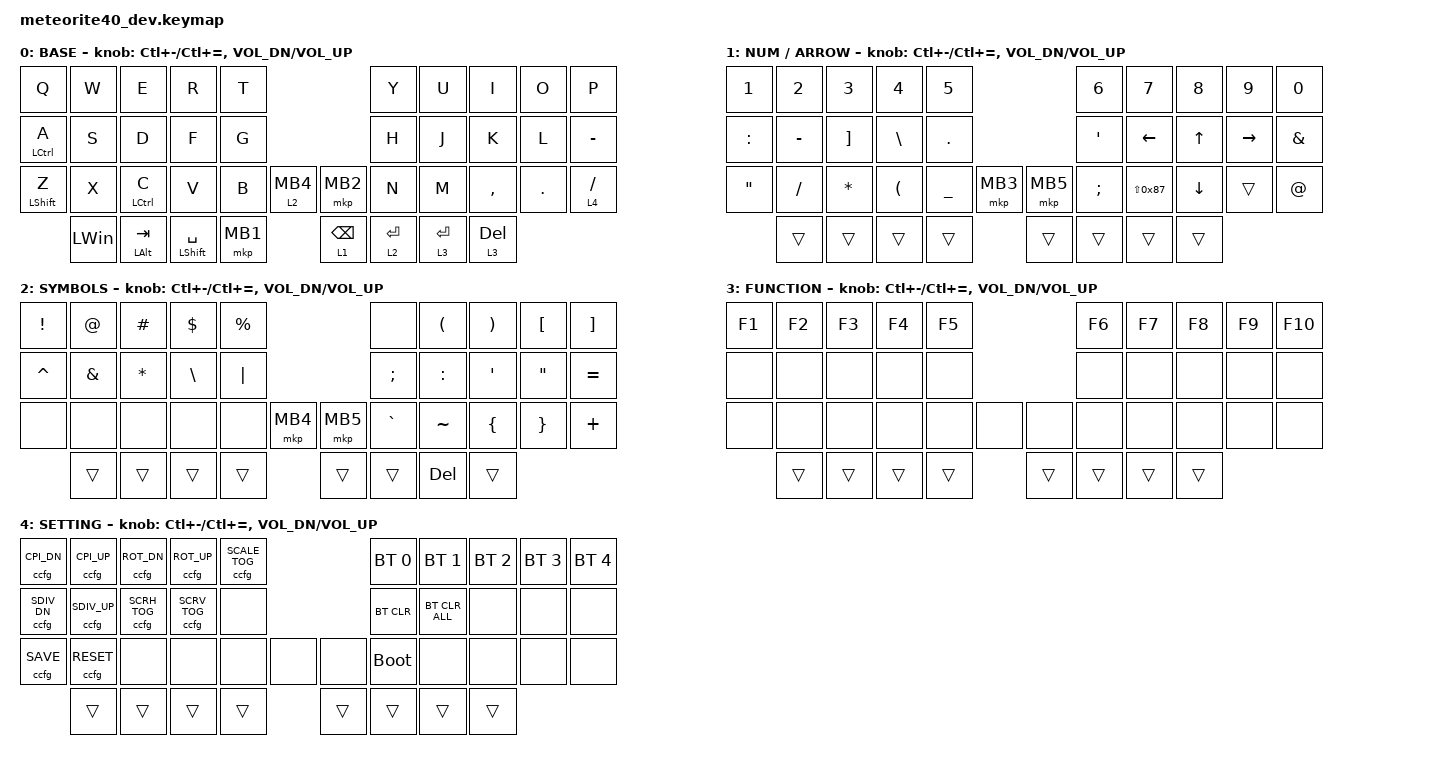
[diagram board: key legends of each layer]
#include <behaviors.dtsi>
#include <dt-bindings/zmk/bt.h>
#include <dt-bindings/zmk/keys.h>
#include <behaviors/custom_config.dtsi>
#include <dt-bindings/zmk/custom_config.h>

#define ZMK_POINTING_DEFAULT_SCRL_VAL 200
#include <dt-bindings/zmk/pointing.h>

// Conversion definition for using Japanese keyboard with OS settings
#define JP_DQUOTE       AT                // "
#define JP_AMPERSAND    CARET             // &
#define JP_QUOTE        AMPERSAND         // '
#define JP_EQUAL        UNDER             // =
#define JP_CARET        EQUAL             // ^
#define JP_YEN          0x89              // ¥
#define JP_PLUS         COLON             // +
#define JP_TILDE        PLUS              // ~
#define JP_PIPE         LS(0x89)          // |
#define JP_AT           LEFT_BRACKET      // @
#define JP_COLON        SINGLE_QUOTE      // :
#define JP_ASTERISK     DOUBLE_QUOTES     // *
#define JP_BACKQUOTE    LEFT_BRACE        // `
#define JP_UNDERSCORE   LS(0x87)          // _
#define JP_LBRACKET     RIGHT_BRACKET     // [
#define JP_RBRACKET     BACKSLASH         // ]
#define JP_LPAREN       ASTERISK          // (
#define JP_RPAREN       LEFT_PARENTHESIS  // )
#define JP_LBRACE       RIGHT_BRACE       // {
#define JP_RBRACE       PIPE              // }
#define JP_KANA         LANGUAGE_1        // かな
#define JP_EISU         LANGUAGE_2        // 英数
#define JP_HANZEN       GRAVE             // 半角/全角

&mt { 
    flavor = "tap-preferred"; // change hold to tap
    tapping-term-ms = <200>;
    quick-tap-ms = <150>; // change 200 to 150
};

&lt {
    flavor = "tap-preferred";
    tapping-term-ms = <150>; // change 200 to 150
    quick-tap-ms = <150>; // change 200 to 150
};

/ { 
    behaviors {
        mouse_scroll: mouse_wheel {
            compatible = "zmk,behavior-sensor-rotate-var";
            #sensor-binding-cells = <2>;
            bindings = <&msc>, <&msc>;
            tap-ms = <25>;
        };
        lt_mkp: lt_mkp {
            compatible = "zmk,behavior-hold-tap";
            label = "LT_MKP";
            bindings = <&mo>, <&mkp>;
            #binding-cells = <2>;
            tapping-term-ms = <200>;
        };

    };

    combos {
        compatible = "zmk,combos";

        lang1 {
            bindings = <&kp LANG1>;
            key-positions = <12 13>; /* D + F */
            layers = <0>;
        };

        lang2 {
            bindings = <&kp LANG2>;
            key-positions = <16 17>; /* J + K */
            layers = <0>;
        };

        esc {
            bindings = <&kp ESCAPE>;
            key-positions = <20 21>; /* Z + X */
            layers = <0>;
        };

        tab {
            bindings = <&kp TAB>;
            key-positions = <0 1>; /* Q + W */
            layers = <0>;
        };

        home {
            bindings = <&kp HOME>;
            key-positions = <16 17>; /* J + K (on layer 2) */
            layers = <2>;
        };

        end {
            bindings = <&kp END>;
            key-positions = <18 19>; /* L + - (on layer 2) */
            layers = <2>;
        };

        ctrl_home {
            bindings = <&kp LC(HOME)>;
            key-positions = <16 18>; /* J + L (on layer 2) */
            layers = <2>;
        };

        ctrl_end {
            bindings = <&kp LC(END)>;
            key-positions = <17 19>; /* K + - (on layer 2) */
            layers = <2>;
        };
    };

    keymap {
        compatible = "zmk,keymap";
        layout = &LAYOUT_2U_SPACE;

        win_default_layer {
            display-name = "BASE";
            bindings = <
                &kp Q        &kp W       &kp E        &kp R        &kp T                                &kp Y       &kp U        &kp I        &kp O    &kp P
                &mt LCTRL A  &kp S       &kp D        &kp F        &kp G                                &kp H       &kp J        &kp K        &kp L    &kp MINUS
                &mt LSHIFT Z &kp X       &mt LCTRL C  &kp V        &kp B     &lt_mkp 2 MB4  &mkp MB2    &kp N       &kp M        &kp COMMA    &kp DOT  &lt 4 SLASH
                                   &kp LWIN  &mt LALT TAB  &mt LSHIFT SPACE  &mkp MB1       &lt 1 BSPC  &lt 2 ENTER  &lt 3 ENTER  &lt 3 DEL
            >;

            sensor-bindings =
                <&inc_dec_kp LC(MINUS) LC(EQUAL)>, // RE0: ctrl + - / +,,,
                <&inc_dec_kp C_VOL_DN C_VOL_UP>; // RE1: volume down/up
                //<&mouse_scroll SCRL_LEFT SCRL_RIGHT>,
			    //<&mouse_scroll SCRL_UP SCRL_DOWN>;

        };

        layer_1 {
            display-name = "NUM / ARROW";
            bindings = <
                &kp N1           &kp N2     &kp N3           &kp N4           &kp N5                           &kp N6        &kp N7             &kp N8    &kp N9     &kp N0
                &kp JP_PLUS      &kp MINUS  &kp JP_LBRACKET  &kp JP_RBRACKET  &kp DOT                          &kp JP_COLON  &kp LEFT           &kp UP    &kp RIGHT  &kp JP_QUOTE
                &kp JP_ASTERISK  &kp SLASH  &kp JP_LPAREN    &kp JP_RPAREN    &kp JP_EQUAL &mkp MB3  &mkp MB5  &kp SEMI      &kp JP_UNDERSCORE  &kp DOWN  &trans     &kp JP_DQUOTE
                                 &trans     &trans           &trans           &trans       &trans    &trans    &trans        &trans
            >;

            sensor-bindings =
                <&inc_dec_kp LC(MINUS) LC(EQUAL)>, // RE0: ctrl + - / +,,,
                <&inc_dec_kp C_VOL_DN C_VOL_UP>; // RE1: volume down/up
                //<&mouse_scroll SCRL_LEFT SCRL_RIGHT>,
				//<&mouse_scroll SCRL_UP SCRL_DOWN>;
        };

        layer_2 {
            display-name = "SYMBOLS";
            bindings = <
                &kp EXCL   &kp AT    &kp HASH  &kp DLLR  &kp PRCNT                       &none      &kp LPAR   &kp RPAR   &kp LBKT   &kp RBKT
                &kp CARET  &kp AMPS  &kp STAR  &kp BSLH  &kp PIPE                        &kp SEMI   &kp COLON  &kp SQT    &kp DQT    &kp EQUAL
                &none      &none     &none     &none     &none      &mkp MB4  &mkp MB5   &kp GRAVE  &kp TILDE  &kp LBRC   &kp RBRC   &kp PLUS
                                     &trans    &trans    &trans     &trans    &trans     &trans     &kp DEL    &trans
            >;

            sensor-bindings =
                <&inc_dec_kp LC(MINUS) LC(EQUAL)>, // RE0: ctrl + - / +,,,
                <&inc_dec_kp C_VOL_DN C_VOL_UP>; // RE1: volume down/up

        };

        layer_3 {
            display-name = "FUNCTION";
            bindings = <
                &kp F1  &kp F2  &kp F3  &kp F4  &kp F5                  &kp F6  &kp F7  &kp F8  &kp F9  &kp F10
                &none   &none   &none   &none   &none                   &none   &none   &none   &none   &none
                &none   &none   &none   &none   &none   &none   &none   &none   &none   &none   &none   &none
                                &trans  &trans  &trans  &trans  &trans  &trans  &trans  &trans
            >;

            sensor-bindings =
                <&inc_dec_kp LC(MINUS) LC(EQUAL)>, // RE0: ctrl + - / +,,,
                <&inc_dec_kp C_VOL_DN C_VOL_UP>; // RE1: volume down/up

        };

        layer_4 {
			display-name = "SETTING";
			bindings = <
				&ccfg C_CPI_DN  &ccfg C_CPI_UP  &ccfg C_ROT_DN   &ccfg C_ROT_UP   &ccfg C_SCALE_TOG                  &bt BT_SEL 0   &bt BT_SEL 1    &bt BT_SEL 2  &bt BT_SEL 3  &bt BT_SEL 4
				&ccfg C_SDIV_DN &ccfg C_SDIV_UP &ccfg C_SCRH_TOG &ccfg C_SCRV_TOG &none                              &bt BT_CLR     &bt BT_CLR_ALL  &none         &none         &none
				&ccfg C_SAVE    &ccfg C_RESET   &none          &none          &none                 &none &none      &bootloader    &none           &none         &none         &none
												                    &trans       &trans  &trans  &trans  &trans  &trans    &trans        &trans
			>;

            sensor-bindings =
                <&inc_dec_kp LC(MINUS) LC(EQUAL)>, // RE0: ctrl + - / +,,,
                <&inc_dec_kp C_VOL_DN C_VOL_UP>; // RE1: volume down/up

        };
    };
};
